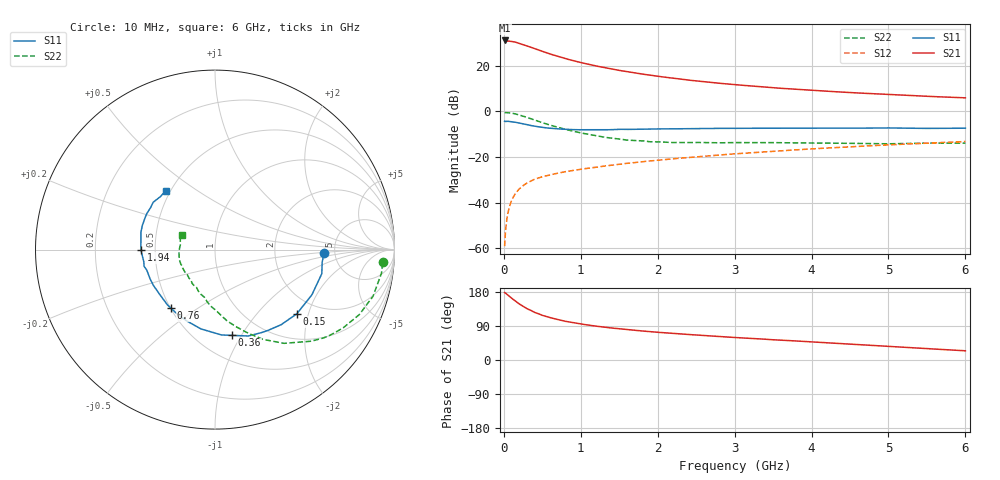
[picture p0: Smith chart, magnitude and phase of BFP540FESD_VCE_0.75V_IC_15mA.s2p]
! Infineon Technologies  Discrete & RF Semiconductors
! BFP540FESD
! VCE = 0.75 V,  IC =  15 mA
! Common Emitter S-Parameters:  Nov 2015
# GHz  S  MA  R  50
!  f  S11  S21  S12  S22
! GHz  MAG  ANG  MAG  ANG  MAG  ANG  MAG  ANG
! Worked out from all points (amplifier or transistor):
!   210 points, 10 MHz to 6 GHz, reference 50 ohm
!   highest |S21| = 31.2 dB at 10 MHz (marker M1)
!   |S21| within 3 dB of that: start of sweep to 352.1 MHz
!   unconditionally stable (mu >= 1): 1.861 GHz to end of sweep
!   at 185 MHz: K = 0.24, MSG = 32.3 dB, |S12| = -34.6 dB
!   at 1.52 GHz: K = 0.94, MSG = 20.5 dB, |S12| = -23.2 dB
!   at 6 GHz: K = 1.17, MAG = 7.1 dB, |S12| = -13.2 dB
!   S11 on the Smith chart (normalised r, x): 10 MHz: 4.09, -0.25; 150 MHz: 1.57, -1.69; 360 MHz: 0.73, -0.91; 760 MHz: 0.50, -0.39; 1.94 GHz: 0.42, -0.00; 6 GHz: 0.47, +0.38
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0.01  0.6085 -1.8  36.15 178.0  0.0011 82.3  0.9407 -4.1
0.02  0.6011 -6.7  35.03 176.8  0.0021 103.5  0.938 -3.0
0.05  0.6101 -12.7  35.25 171.8  0.0056 90.0  0.9369 -8.1
0.1  0.5957 -25.0  34.42 163.3  0.011 81.5  0.918 -16.5
0.15  0.5795 -38.1  33.22 155.5  0.0157 76.2  0.8821 -24.2
0.2  0.5576 -48.6  31.33 148.0  0.0198 71.4  0.8367 -31.4
0.24  0.5386 -56.6  29.8 142.9  0.0227 68.6  0.7993 -36.6
0.3  0.5156 -69.0  27.58 135.6  0.0267 64.9  0.7401 -43.6
0.36  0.4872 -78.7  25.31 130.0  0.0301 62.4  0.6828 -49.3
0.4  0.4768 -85.7  23.95 125.7  0.0324 61.1  0.6488 -53.6
0.5  0.4487 -100.1  20.89 117.9  0.0368 58.5  0.5666 -61.9
0.6  0.4276 -111.5  18.25 111.7  0.0403 56.8  0.5004 -68.4
0.76  0.4083 -126.8  15.14 104.0  0.0461 55.4  0.4218 -77.6
1.02  0.3957 -145.3  11.62 94.4  0.0543 54.5  0.3329 -90.3
1.22  0.3964 -156.0  9.794 88.8  0.0601 54.3  0.2885 -99.4
1.5  0.4059 -166.7  7.965 82.3  0.0688 53.8  0.2489 -111.9
1.94  0.4118 -179.8  6.108 74.2  0.0829 52.9  0.2155 -129.8
2.02  0.4133 177.9  5.851 72.8  0.0853 52.8  0.2145 -132.6
3.1  0.4267 160.4  3.753 58.3  0.1201 48.9  0.2066 -158.4
4.1  0.4291 150.9  2.842 46.6  0.1537 43.6  0.2017 -174.0
5.1  0.4313 141.2  2.314 34.8  0.1878 36.0  0.1957 170.7
6  0.4282 129.9  1.988 24.3  0.2182 28.6  0.2016 155.5
